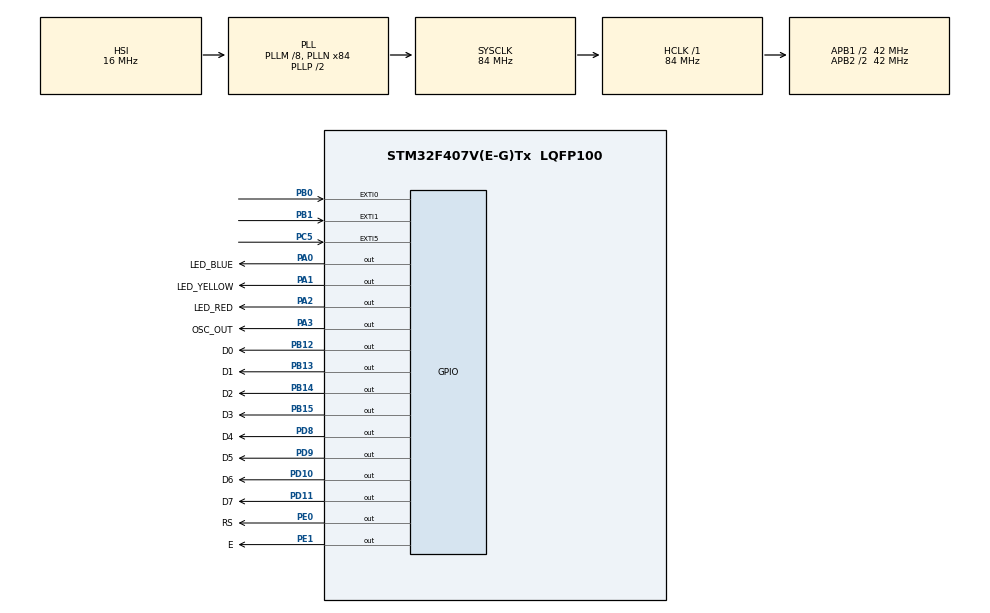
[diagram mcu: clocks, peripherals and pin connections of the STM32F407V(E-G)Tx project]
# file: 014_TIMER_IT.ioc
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Mcu.Family=STM32F4
Mcu.Name=STM32F407V(E-G)Tx
Mcu.Package=LQFP100
NVIC.EXTI0_IRQn=true\:0\:0\:true\:false\:true\:true\:true
NVIC.EXTI1_IRQn=true\:0\:0\:true\:false\:true\:true\:true
NVIC.EXTI9_5_IRQn=true\:0\:0\:false\:false\:true\:true\:true
NVIC.PriorityGroup=NVIC_PRIORITYGROUP_4
NVIC.TIM1_UP_TIM10_IRQn=true\:1\:0\:true\:false\:true\:true\:true
PA0-WKUP.GPIO_Label=LED_BLUE
PA0-WKUP.Signal=GPIO_Output
PA1.GPIO_Label=LED_YELLOW
PA1.Signal=GPIO_Output
PA2.GPIO_Label=LED_RED
PA2.Signal=GPIO_Output
PA3.GPIO_Label=OSC_OUT
PA3.Signal=GPIO_Output
PB0.Signal=GPXTI0
PB1.Signal=GPXTI1
PB12.GPIO_Label=D0
PB12.Signal=GPIO_Output
PB13.GPIO_Label=D1
PB13.Signal=GPIO_Output
PB14.GPIO_Label=D2
PB14.Signal=GPIO_Output
PB15.GPIO_Label=D3
PB15.Signal=GPIO_Output
PC5.Signal=GPXTI5
PD10.GPIO_Label=D6
PD10.Signal=GPIO_Output
PD11.GPIO_Label=D7
PD11.Signal=GPIO_Output
PD8.GPIO_Label=D4
PD8.Signal=GPIO_Output
PD9.GPIO_Label=D5
PD9.Signal=GPIO_Output
PE0.GPIO_Label=RS
PE0.Signal=GPIO_Output
PE1.GPIO_Label=E
PE1.Signal=GPIO_Output
PH0-OSC_IN.Mode=HSE-External-Oscillator
PH0-OSC_IN.Signal=RCC_OSC_IN
PH1-OSC_OUT.Mode=HSE-External-Oscillator
PH1-OSC_OUT.Signal=RCC_OSC_OUT
ProjectManager.HeapSize=0x200
ProjectManager.StackSize=0x400
ProjectManager.TargetToolchain=STM32CubeIDE
RCC.48MHZClocksFreq_Value=42000000
RCC.AHBFreq_Value=84000000
RCC.APB1CLKDivider=RCC_HCLK_DIV2
RCC.APB1Freq_Value=42000000
RCC.APB1TimFreq_Value=84000000
RCC.APB2CLKDivider=RCC_HCLK_DIV2
RCC.APB2Freq_Value=42000000
RCC.APB2TimFreq_Value=84000000
RCC.CortexFreq_Value=84000000
RCC.HCLKFreq_Value=84000000
RCC.HSE_VALUE=8000000
RCC.HSI_VALUE=16000000
RCC.LSE_VALUE=32768
RCC.PLLM=8
RCC.PLLN=84
RCC.SYSCLKFreq_VALUE=84000000
RCC.SYSCLKSource=RCC_SYSCLKSOURCE_PLLCLK
RCC.VCOOutputFreq_Value=168000000
TIM1.Period=999
TIM1.Prescaler=83
TIM1.TIM_MasterOutputTrigger=TIM_TRGO_UPDATE
VP_TIM1_VS_ClockSourceINT.Mode=Internal
board=custom

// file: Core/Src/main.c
/* USER CODE BEGIN Header */

/*
 * Atakan ERTEKİN, 05180000859
 * Dudu ÖNAT,	05160000592
 *
 * Gömülü Sistemler Ödev-2
 */

/**
  ******************************************************************************
  * @file           : main.c
  * @brief          : Main program body
  ******************************************************************************
  * @attention
  *
  * <h2><center>&copy; Copyright (c) 2020 STMicroelectronics.
  * All rights reserved.</center></h2>
  *
  * This software component is licensed by ST under BSD 3-Clause license,
  * the "License"; You may not use this file except in compliance with the
  * License. You may obtain a copy of the License at:
  *                        opensource.org/licenses/BSD-3-Clause
  *
  ******************************************************************************
  */
/* USER CODE END Header */
#include "main.h"

/* USER CODE BEGIN Includes */

#include "stdlib.h"
#include "STM_MY_LCD16X2.h"

/* USER CODE END Includes */

TIM_HandleTypeDef htim1;

/* USER CODE BEGIN PV */
int kisi=0;
uint32_t delayDummy,randomDummy;
int secondDigit;
int menuItem;
int duraksamaItem=0;

int ms=0;
int minutes=0;
int second=0;

int randomVar;
int process;

/* USER CODE END PV */

void SystemClock_Config(void);
static void MX_GPIO_Init(void);
static void MX_TIM1_Init(void);

/* USER CODE BEGIN 0 */
void HAL_TIM_PeriodElapsedCallback(TIM_HandleTypeDef *htim) // her 1 msaniyede
{
	if(htim->Instance==htim1.Instance)
	{
		delayDummy++;
		ms++;
		if(menuItem==1 && duraksamaItem==0)
		{
			if(ms>=1000)
			{
				second++;
				ms=0;
			}
			if(delayDummy%100==0)
			{
				HAL_GPIO_TogglePin(GPIOA, LED_BLUE_Pin);
			}
		}
	}
}
void timerDelay(int delay)
{
	delayDummy=0;
	while(delayDummy!=delay);
}
void randomDelay(void)
{
	randomVar = rand()%401+100 ;
	timerDelay(randomVar);  // rand()%401 0-400 , 100-500
	kisi++;
}

void randomProcess(void)
{
	HAL_GPIO_WritePin(GPIOA, OSC_OUT_Pin, GPIO_PIN_SET);
	process=1;
	timerDelay(randomVar);
	HAL_GPIO_WritePin(GPIOA, OSC_OUT_Pin, GPIO_PIN_RESET);
	process=0;
}

/* USER CODE END 0 */

int main(void)
{

  /* MCU Configuration--------------------------------------------------------*/

  /* Reset of all peripherals, Initializes the Flash interface and the Systick. */
  HAL_Init();

  /* Configure the system clock */
  SystemClock_Config();

  /* Initialize all configured peripherals */
  MX_GPIO_Init();
  MX_TIM1_Init();
  /* USER CODE BEGIN 2 */

  HAL_TIM_Base_Start_IT(&htim1);  // timer kesmesi aktif
  LCD1602_Begin8BIT(RS_GPIO_Port, RS_Pin, E_Pin, D0_GPIO_Port, D0_Pin, D1_Pin, D2_Pin, D3_Pin, D4_GPIO_Port, D4_Pin, D5_Pin, D6_Pin, D7_Pin);

  /* USER CODE END 2 */

  /* Infinite loop */
  while (1)
  {

    /* USER CODE BEGIN 3 */
	  if(menuItem==0)
	  {
		  // SAYMA İSLEMİ DURDU
  		HAL_GPIO_WritePin(GPIOA, LED_RED_Pin, GPIO_PIN_SET);
  		HAL_GPIO_WritePin(GPIOA, LED_YELLOW_Pin, GPIO_PIN_RESET);
  		HAL_GPIO_WritePin(GPIOA, LED_BLUE_Pin, GPIO_PIN_RESET);
  		kisi=0, second=0;
	  }
	  else if(menuItem==1 && duraksamaItem==0)	// SAYMA İSLEMI BASLADI
	  {
		  randomDelay();
		  randomProcess();
		  HAL_GPIO_WritePin(GPIOA, LED_RED_Pin, GPIO_PIN_RESET);
		  HAL_GPIO_WritePin(GPIOA, LED_YELLOW_Pin, GPIO_PIN_RESET);
	  }
	  if(duraksamaItem==1 && menuItem==1)
	  {
		  HAL_GPIO_WritePin(GPIOA, LED_YELLOW_Pin, GPIO_PIN_SET);
		  HAL_GPIO_WritePin(GPIOA, LED_BLUE_Pin, GPIO_PIN_RESET);
		  HAL_GPIO_WritePin(GPIOA, LED_RED_Pin, GPIO_PIN_RESET);
	  }
	  if(second>=0 && second<60)
	  {
		  	  LCD1602_1stLine();
		  	  LCD1602_PrintInt(second);
		  	  LCD1602_print("saniyede");
	  }
	  if(second>=60)
	  {
		  minutes=second/60;
		  secondDigit=second%60;
		  LCD1602_1stLine();
		  LCD1602_PrintInt(minutes);
		  LCD1602_print("dk");
		  LCD1602_PrintInt(secondDigit);
		  LCD1602_print("sn'de");
	  }
	  LCD1602_2ndLine();
	  LCD1602_PrintInt(kisi);
	  LCD1602_print("kisi gecti.");
  }
  /* USER CODE END 3 */
}

void SystemClock_Config(void)
{
  RCC_OscInitTypeDef RCC_OscInitStruct = {0};
  RCC_ClkInitTypeDef RCC_ClkInitStruct = {0};

  /** Configure the main internal regulator output voltage
  */
  __HAL_RCC_PWR_CLK_ENABLE();
  __HAL_PWR_VOLTAGESCALING_CONFIG(PWR_REGULATOR_VOLTAGE_SCALE1);
  /** Initializes the RCC Oscillators according to the specified parameters
  * in the RCC_OscInitTypeDef structure.
  */
  RCC_OscInitStruct.OscillatorType = RCC_OSCILLATORTYPE_HSI;
  RCC_OscInitStruct.HSIState = RCC_HSI_ON;
  RCC_OscInitStruct.HSICalibrationValue = RCC_HSICALIBRATION_DEFAULT;
  RCC_OscInitStruct.PLL.PLLState = RCC_PLL_ON;
  RCC_OscInitStruct.PLL.PLLSource = RCC_PLLSOURCE_HSI;
  RCC_OscInitStruct.PLL.PLLM = 8;
  RCC_OscInitStruct.PLL.PLLN = 84;
  RCC_OscInitStruct.PLL.PLLP = RCC_PLLP_DIV2;
  RCC_OscInitStruct.PLL.PLLQ = 4;
  if (HAL_RCC_OscConfig(&RCC_OscInitStruct) != HAL_OK)
  {
    Error_Handler();
  }
  /** Initializes the CPU, AHB and APB buses clocks
  */
  RCC_ClkInitStruct.ClockType = RCC_CLOCKTYPE_HCLK|RCC_CLOCKTYPE_SYSCLK
                              |RCC_CLOCKTYPE_PCLK1|RCC_CLOCKTYPE_PCLK2;
  RCC_ClkInitStruct.SYSCLKSource = RCC_SYSCLKSOURCE_PLLCLK;
  RCC_ClkInitStruct.AHBCLKDivider = RCC_SYSCLK_DIV1;
  RCC_ClkInitStruct.APB1CLKDivider = RCC_HCLK_DIV2;
  RCC_ClkInitStruct.APB2CLKDivider = RCC_HCLK_DIV2;

  if (HAL_RCC_ClockConfig(&RCC_ClkInitStruct, FLASH_LATENCY_2) != HAL_OK)
  {
    Error_Handler();
  }
}

static void MX_TIM1_Init(void)
{

  TIM_ClockConfigTypeDef sClockSourceConfig = {0};
  TIM_MasterConfigTypeDef sMasterConfig = {0};

  htim1.Instance = TIM1;
  htim1.Init.Prescaler = 83;
  htim1.Init.CounterMode = TIM_COUNTERMODE_UP;
  htim1.Init.Period = 999;
  htim1.Init.ClockDivision = TIM_CLOCKDIVISION_DIV1;
  htim1.Init.RepetitionCounter = 0;
  htim1.Init.AutoReloadPreload = TIM_AUTORELOAD_PRELOAD_DISABLE;
  if (HAL_TIM_Base_Init(&htim1) != HAL_OK)
  {
    Error_Handler();
  }
  sClockSourceConfig.ClockSource = TIM_CLOCKSOURCE_INTERNAL;
  if (HAL_TIM_ConfigClockSource(&htim1, &sClockSourceConfig) != HAL_OK)
  {
    Error_Handler();
  }
  sMasterConfig.MasterOutputTrigger = TIM_TRGO_UPDATE;
  sMasterConfig.MasterSlaveMode = TIM_MASTERSLAVEMODE_DISABLE;
  if (HAL_TIMEx_MasterConfigSynchronization(&htim1, &sMasterConfig) != HAL_OK)
  {
    Error_Handler();
  }

}

static void MX_GPIO_Init(void)
{
  GPIO_InitTypeDef GPIO_InitStruct = {0};

  /* GPIO Ports Clock Enable */
  __HAL_RCC_GPIOH_CLK_ENABLE();
  __HAL_RCC_GPIOA_CLK_ENABLE();
  __HAL_RCC_GPIOC_CLK_ENABLE();
  __HAL_RCC_GPIOB_CLK_ENABLE();
  __HAL_RCC_GPIOD_CLK_ENABLE();
  __HAL_RCC_GPIOE_CLK_ENABLE();

  /*Configure GPIO pin Output Level */
  HAL_GPIO_WritePin(GPIOA, LED_BLUE_Pin|LED_YELLOW_Pin|LED_RED_Pin|OSC_OUT_Pin, GPIO_PIN_RESET);

  /*Configure GPIO pin Output Level */
  HAL_GPIO_WritePin(GPIOB, D0_Pin|D1_Pin|D2_Pin|D3_Pin, GPIO_PIN_RESET);

  /*Configure GPIO pin Output Level */
  HAL_GPIO_WritePin(GPIOD, D4_Pin|D5_Pin|D6_Pin|D7_Pin, GPIO_PIN_RESET);

  /*Configure GPIO pin Output Level */
  HAL_GPIO_WritePin(GPIOE, RS_Pin|E_Pin, GPIO_PIN_RESET);

  /*Configure GPIO pins : LED_BLUE_Pin LED_YELLOW_Pin LED_RED_Pin OSC_OUT_Pin */
  GPIO_InitStruct.Pin = LED_BLUE_Pin|LED_YELLOW_Pin|LED_RED_Pin|OSC_OUT_Pin;
  GPIO_InitStruct.Mode = GPIO_MODE_OUTPUT_PP;
  GPIO_InitStruct.Pull = GPIO_NOPULL;
  GPIO_InitStruct.Speed = GPIO_SPEED_FREQ_LOW;
  HAL_GPIO_Init(GPIOA, &GPIO_InitStruct);

  /*Configure GPIO pin : PC5 */
  GPIO_InitStruct.Pin = GPIO_PIN_5;
  GPIO_InitStruct.Mode = GPIO_MODE_IT_RISING;
  GPIO_InitStruct.Pull = GPIO_NOPULL;
  HAL_GPIO_Init(GPIOC, &GPIO_InitStruct);

  /*Configure GPIO pins : PB0 PB1 */
  GPIO_InitStruct.Pin = GPIO_PIN_0|GPIO_PIN_1;
  GPIO_InitStruct.Mode = GPIO_MODE_IT_RISING;
  GPIO_InitStruct.Pull = GPIO_NOPULL;
  HAL_GPIO_Init(GPIOB, &GPIO_InitStruct);

  /*Configure GPIO pins : D0_Pin D1_Pin D2_Pin D3_Pin */
  GPIO_InitStruct.Pin = D0_Pin|D1_Pin|D2_Pin|D3_Pin;
  GPIO_InitStruct.Mode = GPIO_MODE_OUTPUT_PP;
  GPIO_InitStruct.Pull = GPIO_NOPULL;
  GPIO_InitStruct.Speed = GPIO_SPEED_FREQ_LOW;
  HAL_GPIO_Init(GPIOB, &GPIO_InitStruct);

  /*Configure GPIO pins : D4_Pin D5_Pin D6_Pin D7_Pin */
  GPIO_InitStruct.Pin = D4_Pin|D5_Pin|D6_Pin|D7_Pin;
  GPIO_InitStruct.Mode = GPIO_MODE_OUTPUT_PP;
  GPIO_InitStruct.Pull = GPIO_NOPULL;
  GPIO_InitStruct.Speed = GPIO_SPEED_FREQ_LOW;
  HAL_GPIO_Init(GPIOD, &GPIO_InitStruct);

  /*Configure GPIO pins : RS_Pin E_Pin */
  GPIO_InitStruct.Pin = RS_Pin|E_Pin;
  GPIO_InitStruct.Mode = GPIO_MODE_OUTPUT_PP;
  GPIO_InitStruct.Pull = GPIO_NOPULL;
  GPIO_InitStruct.Speed = GPIO_SPEED_FREQ_LOW;
  HAL_GPIO_Init(GPIOE, &GPIO_InitStruct);

  /* EXTI interrupt init*/
  HAL_NVIC_SetPriority(EXTI0_IRQn, 0, 0);
  HAL_NVIC_EnableIRQ(EXTI0_IRQn);

  HAL_NVIC_SetPriority(EXTI1_IRQn, 0, 0);
  HAL_NVIC_EnableIRQ(EXTI1_IRQn);

  HAL_NVIC_SetPriority(EXTI9_5_IRQn, 0, 0);
  HAL_NVIC_EnableIRQ(EXTI9_5_IRQn);

}

void Error_Handler(void)
{
}

/************************ (C) COPYRIGHT STMicroelectronics *****END OF FILE****/
